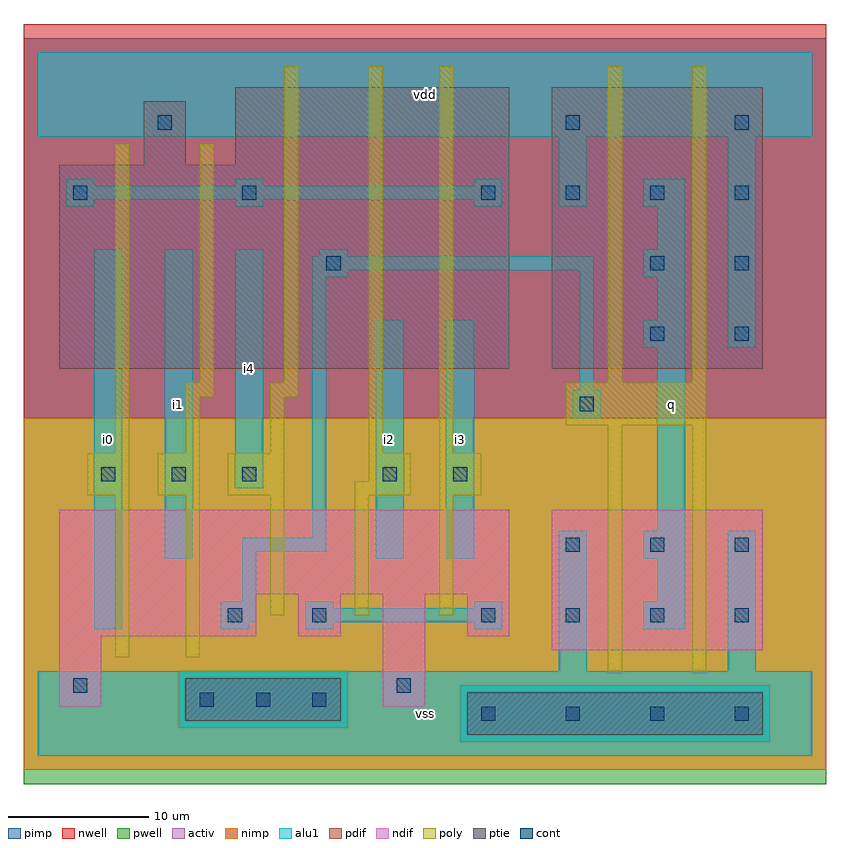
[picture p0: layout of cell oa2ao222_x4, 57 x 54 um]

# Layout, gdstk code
import gdstk
lib = gdstk.Library(unit=1e-6, precision=1e-09)
def R(c, l, rs):  # rectangles x0, y0, x1, y1
    for r in rs: c.add(gdstk.rectangle(r[:2], r[2:], *l))
def A(c, l, x, y, w, h, nx, ny, dx, dy):  # array of equal rectangles
    R(c, l, [(x+i*dx, y+j*dy, x+i*dx+w, y+j*dy+h) for i in range(nx) for j in range(ny)])
ndif = (3, 0)
pdif = (4, 0)
ptie = (6, 0)
cont = (25, 0)
pwell = (41, 0)
nwell = (42, 0)
activ = (43, 0)
pimp = (44, 0)
nimp = (45, 0)
poly = (46, 0)
alu1 = (49, 0)

oa2ao222_x4 = lib.new_cell('oa2ao222_x4')
R(oa2ao222_x4, ndif, [(1.5,3.5,4.5,8.5), (24.5,3.5,27.5,11.5), (36.5,7.5,51.5,17.5), (1.5,8.5,15.5,11.5), (18.5,8.5,21.5,11.5), (30.5,8.5,33.5,11.5), (1.5,11.5,33.5,17.5)])
R(oa2ao222_x4, pdif, [(1.5,27.5,33.5,42), (36.5,27.5,51.5,47.5), (7.5,42,10.5,46.5), (14,42,33.5,47.5)])
R(oa2ao222_x4, ptie, [(30.5,1.5,51.5,4.5), (10.5,2.5,21.5,5.5)])
A(oa2ao222_x4, cont, 31.5, 2.5, 1, 1, 4, 2, 6, 7)
A(oa2ao222_x4, cont, 11.5, 3.5, 1, 1, 3, 1, 4, 0)
A(oa2ao222_x4, cont, 37.5, 14.5, 1, 1, 3, 1, 6, 0)
A(oa2ao222_x4, cont, 4.5, 19.5, 1, 1, 3, 1, 5, 0)
A(oa2ao222_x4, cont, 31.5, 39.5, 1, 1, 4, 1, 6, 0)
R(oa2ao222_x4, cont, [(2.5,4.5,3.5,5.5), (25.5,4.5,26.5,5.5), (13.5,9.5,14.5,10.5), (19.5,9.5,20.5,10.5), (24.5,19.5,25.5,20.5), (29.5,19.5,30.5,20.5), (38.5,24.5,39.5,25.5), (43.5,29.5,44.5,30.5), (49.5,29.5,50.5,30.5), (20.5,34.5,21.5,35.5), (43.5,34.5,44.5,35.5), (49.5,34.5,50.5,35.5), (2.5,39.5,3.5,40.5), (14.5,39.5,15.5,40.5), (8.5,44.5,9.5,45.5), (37.5,44.5,38.5,45.5), (49.5,44.5,50.5,45.5)])
R(oa2ao222_x4, pwell, [(-1,-2,56,24)])
R(oa2ao222_x4, nwell, [(-1,24,56,52)])
R(oa2ao222_x4, activ, [(30.5,1.5,51.5,4.5), (10.5,2.5,21.5,5.5), (1.5,3.5,4.5,8.5), (24.5,3.5,27.5,11.5), (36.5,7.5,51.5,17.5), (1.5,8.5,15.5,11.5), (18.5,8.5,21.5,11.5), (30.5,8.5,33.5,11.5), (1.5,11.5,33.5,17.5), (1.5,27.5,33.5,42), (36.5,27.5,51.5,47.5), (7.5,42,10.5,46.5), (14,42,33.5,47.5)])
R(oa2ao222_x4, pimp, [(30,1,52,5), (10,2,22,6), (-1,24,56,51)])
R(oa2ao222_x4, nimp, [(-1,-1,56,1), (-1,1,30,2), (52,1,56,5), (-1,2,10,6), (22,2,30,5), (22,5,56,6), (-1,6,56,24)])
A(oa2ao222_x4, poly, 16.5, 10, 1, 8.5, 3, 1, 6, 0)
R(oa2ao222_x4, poly, [(40.5,6,41.5,23.5), (46.5,6,47.5,23.5), (5.5,7,6.5,18.5), (10.5,7,11.5,18.5), (3.5,18.5,6.5,21.5), (8.5,18.5,11.5,21.5), (13.5,18.5,17.5,21.5), (22.5,18.5,26.5,19.5), (28.5,18.5,31.5,21.5), (23.5,19.5,26.5,21.5), (5.5,21.5,6.5,43.5), (10.5,21.5,11.5,25.5), (16.5,21.5,17.5,25.5), (23.5,21.5,24.5,49), (28.5,21.5,29.5,49), (37.5,23.5,47.5,26.5), (10.5,25.5,12.5,26.5), (16.5,25.5,18.5,26.5), (11.5,26.5,12.5,43.5), (17.5,26.5,18.5,49), (40.5,26.5,41.5,49), (46.5,26.5,47.5,49)])
A(oa2ao222_x4, alu1, 43, 29, 3, 2, 1, 3, 0, 5)
R(oa2ao222_x4, alu1, [(0,0,55,6), (37,6,39,16), (49,6,51,16), (4,9,6,36), (13,9,15,9.5), (19,9,21,9.5), (31,9,33,9.5), (43,9,46,11), (13,9.5,15.5,11), (19,9.5,33,10.5), (19,10.5,21,11), (31,10.5,33,11), (14.5,11,15.5,14.5), (44,11,46,14), (9,14,11,36), (24,14,26,31), (29,14,31,31), (43,14,46,16), (14.5,14.5,20.5,15.5), (19.5,15.5,20.5,34), (44,16,46,29), (14,19,16,36), (38,24,40,26), (38.5,26,39.5,34.5), (49,29,51,44), (44,31,46,34), (19.5,34,22,34.5), (19.5,34.5,39.5,35.5), (20,35.5,22,36), (44,36,46,39), (2,39,4,39.5), (14,39,16,39.5), (31,39,33,39.5), (37,39,39,44), (2,39.5,33,40.5), (2,40.5,4,41), (14,40.5,16,41), (31,40.5,33,41), (0,44,55,50)])
oa2ao222_x4.add(gdstk.Label('i0', (5,22.5), layer=49, texttype=0))
oa2ao222_x4.add(gdstk.Label('i1', (10,25), layer=49, texttype=0))
oa2ao222_x4.add(gdstk.Label('i4', (15,27.5), layer=49, texttype=0))
oa2ao222_x4.add(gdstk.Label('vss', (27.5,3), layer=49, texttype=0))
oa2ao222_x4.add(gdstk.Label('i2', (25,22.5), layer=49, texttype=0))
oa2ao222_x4.add(gdstk.Label('i3', (30,22.5), layer=49, texttype=0))
oa2ao222_x4.add(gdstk.Label('vdd', (27.5,47), layer=49, texttype=0))
oa2ao222_x4.add(gdstk.Label('q', (45,25), layer=49, texttype=0))

lib.write_gds('oa2ao222_x4.gds')
